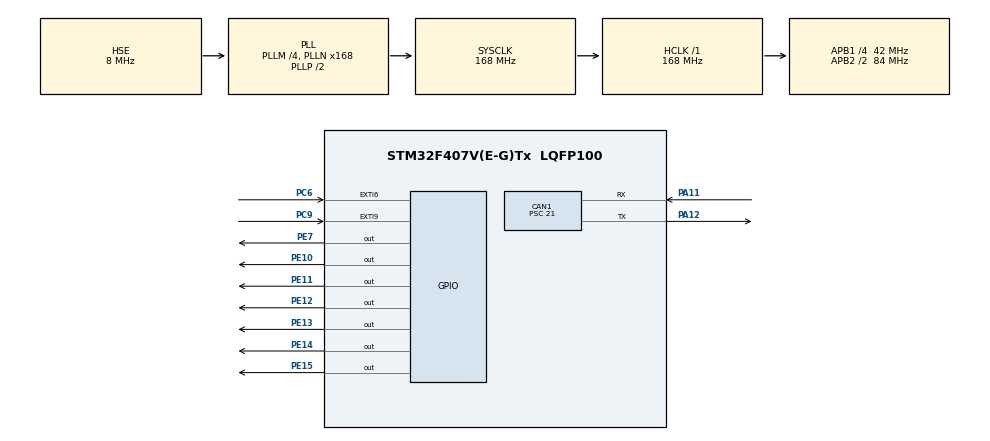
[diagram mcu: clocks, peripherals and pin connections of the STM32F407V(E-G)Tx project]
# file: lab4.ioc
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CAN1.BS1=CAN_BS1_13TQ
CAN1.BS2=CAN_BS2_2TQ
CAN1.CalculateTimeQuantum=500.0
CAN1.Mode=CAN_MODE_SILENT_LOOPBACK
CAN1.NART=ENABLE
CAN1.Prescaler=21
CAN1.TXFP=ENABLE
Mcu.Family=STM32F4
Mcu.Name=STM32F407V(E-G)Tx
Mcu.Package=LQFP100
NVIC.EXTI9_5_IRQn=true\:0\:0\:false\:false\:true\:true\:true
NVIC.PriorityGroup=NVIC_PRIORITYGROUP_4
PA11.Mode=Master
PA11.Signal=CAN1_RX
PA12.Mode=Master
PA12.Signal=CAN1_TX
PC6.GPIO_ModeDefaultEXTI=GPIO_MODE_IT_FALLING
PC6.Signal=GPXTI6
PC9.GPIO_ModeDefaultEXTI=GPIO_MODE_IT_FALLING
PC9.Signal=GPXTI9
PE10.Signal=GPIO_Output
PE11.Signal=GPIO_Output
PE12.Signal=GPIO_Output
PE13.Signal=GPIO_Output
PE14.Signal=GPIO_Output
PE15.Signal=GPIO_Output
PE7.Signal=GPIO_Output
PH0-OSC_IN.Mode=HSE-External-Oscillator
PH0-OSC_IN.Signal=RCC_OSC_IN
PH1-OSC_OUT.Mode=HSE-External-Oscillator
PH1-OSC_OUT.Signal=RCC_OSC_OUT
ProjectManager.HeapSize=0x200
ProjectManager.StackSize=0x400
ProjectManager.TargetToolchain=MDK-ARM V5.27
RCC.48MHZClocksFreq_Value=84000000
RCC.AHBFreq_Value=168000000
RCC.APB1CLKDivider=RCC_HCLK_DIV4
RCC.APB1Freq_Value=42000000
RCC.APB1TimFreq_Value=84000000
RCC.APB2CLKDivider=RCC_HCLK_DIV2
RCC.APB2Freq_Value=84000000
RCC.APB2TimFreq_Value=168000000
RCC.CortexFreq_Value=168000000
RCC.HCLKFreq_Value=168000000
RCC.HSE_VALUE=8000000
RCC.HSI_VALUE=16000000
RCC.LSE_VALUE=32768
RCC.PLLM=4
RCC.PLLN=168
RCC.PLLSourceVirtual=RCC_PLLSOURCE_HSE
RCC.SYSCLKFreq_VALUE=168000000
RCC.SYSCLKSource=RCC_SYSCLKSOURCE_PLLCLK
RCC.VCOOutputFreq_Value=336000000
board=custom

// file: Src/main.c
/* USER CODE BEGIN Header */
/**
  ******************************************************************************
  * @file           : main.c
  * @brief          : Main program body
  ******************************************************************************
  * @attention
  *
  * <h2><center>&copy; Copyright (c) 2020 STMicroelectronics.
  * All rights reserved.</center></h2>
  *
  * This software component is licensed by ST under BSD 3-Clause license,
  * the "License"; You may not use this file except in compliance with the
  * License. You may obtain a copy of the License at:
  *                        opensource.org/licenses/BSD-3-Clause
  *
  ******************************************************************************
  */
/* USER CODE END Header */

#include "main.h"

CAN_HandleTypeDef hcan1;

/* USER CODE BEGIN PV */
uint8_t functionNumber = 0;
uint32_t TxMailbox;
CAN_RxHeaderTypeDef rx;
uint8_t RXdata[8];

uint8_t N=128; //must be 2^x and >1
/* USER CODE END PV */

void SystemClock_Config(void);
static void MX_GPIO_Init(void);
static void MX_CAN1_Init(void);

/* USER CODE BEGIN 0 */
void HAL_GPIO_EXTI_Callback(uint16_t GPIO_Pin){
	if(GPIO_Pin == GPIO_PIN_6){
		//sw3 SendOneMoreMessagePack
		functionNumber = 1;
		return;
	}
	if(GPIO_Pin == GPIO_PIN_9){
		//sw2 ReceiveOneMessagePack if exist
		functionNumber = 2;
		return;
	}
}
/* USER CODE END 0 */

int main(void)
{

  /* MCU Configuration--------------------------------------------------------*/

  /* Reset of all peripherals, Initializes the Flash interface and the Systick. */
  HAL_Init();

  /* Configure the system clock */
  SystemClock_Config();

  /* Initialize all configured peripherals */
  MX_GPIO_Init();
  MX_CAN1_Init();
  /* USER CODE BEGIN 2 */
	initLCD();

	CAN_TxHeaderTypeDef tx;
	tx.DLC = 8;
	tx.ExtId = 0x122;
	tx.StdId = 0x02;
	tx.RTR = CAN_RTR_DATA;
	tx.IDE = CAN_ID_STD;
	tx.TransmitGlobalTime = DISABLE;
  /* USER CODE END 2 */

  /* Infinite loop */
  while (1)
  {
		switch(functionNumber){
			case 0:
				clear();
				lcdUNumber(HAL_CAN_GetRxFifoFillLevel(&hcan1,CAN_RX_FIFO0));
				break;
			case 1: //SendOneMoreMessagePack
				clear();
				HAL_CAN_AddTxMessage(&hcan1,&tx,(uint8_t*)"abcdefe",&TxMailbox);
				lcdString("Pack sended");
				functionNumber = 0;
				break;
			case 2: //ReceiveOneMessagePack if exist
				if(HAL_CAN_GetRxFifoFillLevel(&hcan1,CAN_RX_FIFO0)>0) {
					clear();
					HAL_CAN_GetRxMessage(&hcan1,CAN_RX_FIFO0,&rx,RXdata);
					lcdString("Pack received");
				} else {
					clear();
					lcdString("No packs");
					setCursor(0,1);
					lcdString("to receive!");
				}
				functionNumber = 0;
				break;
		}
		HAL_Delay(1000);
  }
}

void SystemClock_Config(void)
{
  RCC_OscInitTypeDef RCC_OscInitStruct = {0};
  RCC_ClkInitTypeDef RCC_ClkInitStruct = {0};

  /** Configure the main internal regulator output voltage
  */
  __HAL_RCC_PWR_CLK_ENABLE();
  __HAL_PWR_VOLTAGESCALING_CONFIG(PWR_REGULATOR_VOLTAGE_SCALE1);
  /** Initializes the CPU, AHB and APB busses clocks
  */
  RCC_OscInitStruct.OscillatorType = RCC_OSCILLATORTYPE_HSE;
  RCC_OscInitStruct.HSEState = RCC_HSE_ON;
  RCC_OscInitStruct.PLL.PLLState = RCC_PLL_ON;
  RCC_OscInitStruct.PLL.PLLSource = RCC_PLLSOURCE_HSE;
  RCC_OscInitStruct.PLL.PLLM = 4;
  RCC_OscInitStruct.PLL.PLLN = 168;
  RCC_OscInitStruct.PLL.PLLP = RCC_PLLP_DIV2;
  RCC_OscInitStruct.PLL.PLLQ = 4;
  if (HAL_RCC_OscConfig(&RCC_OscInitStruct) != HAL_OK)
  {
    Error_Handler();
  }
  /** Initializes the CPU, AHB and APB busses clocks
  */
  RCC_ClkInitStruct.ClockType = RCC_CLOCKTYPE_HCLK|RCC_CLOCKTYPE_SYSCLK
                              |RCC_CLOCKTYPE_PCLK1|RCC_CLOCKTYPE_PCLK2;
  RCC_ClkInitStruct.SYSCLKSource = RCC_SYSCLKSOURCE_PLLCLK;
  RCC_ClkInitStruct.AHBCLKDivider = RCC_SYSCLK_DIV1;
  RCC_ClkInitStruct.APB1CLKDivider = RCC_HCLK_DIV4;
  RCC_ClkInitStruct.APB2CLKDivider = RCC_HCLK_DIV2;

  if (HAL_RCC_ClockConfig(&RCC_ClkInitStruct, FLASH_LATENCY_5) != HAL_OK)
  {
    Error_Handler();
  }
}

static void MX_CAN1_Init(void)
{

  /* USER CODE BEGIN CAN1_Init 0 */
	__HAL_RCC_CAN1_CLK_ENABLE();

	GPIO_InitTypeDef GPIO_InitStruct = {0};
	GPIO_InitStruct.Pin = GPIO_PIN_11|GPIO_PIN_12;
	GPIO_InitStruct.Mode = GPIO_MODE_AF_PP;
	GPIO_InitStruct.Pull = GPIO_PULLUP;
	GPIO_InitStruct.Speed = GPIO_SPEED_FAST;
	GPIO_InitStruct.Alternate = GPIO_AF9_CAN1;
  HAL_GPIO_Init(GPIOA, &GPIO_InitStruct);
  /* USER CODE END CAN1_Init 0 */

  hcan1.Instance = CAN1;
  hcan1.Init.Prescaler = 21;
  hcan1.Init.Mode = CAN_MODE_SILENT_LOOPBACK;
  hcan1.Init.SyncJumpWidth = CAN_SJW_1TQ;
  hcan1.Init.TimeSeg1 = CAN_BS1_13TQ;
  hcan1.Init.TimeSeg2 = CAN_BS2_2TQ;
  hcan1.Init.TimeTriggeredMode = DISABLE;
  hcan1.Init.AutoBusOff = DISABLE;
  hcan1.Init.AutoWakeUp = DISABLE;
  hcan1.Init.AutoRetransmission = ENABLE;
  hcan1.Init.ReceiveFifoLocked = DISABLE;
  hcan1.Init.TransmitFifoPriority = ENABLE;
  if (HAL_CAN_Init(&hcan1) != HAL_OK)
  {
    Error_Handler();
  }
  /* USER CODE BEGIN CAN1_Init 2 */

	CAN_FilterTypeDef filter;
	filter.FilterBank = 0;
	filter.FilterActivation = ENABLE;
	filter.FilterFIFOAssignment = CAN_RX_FIFO0;
	filter.FilterIdHigh = 0x0000;
	filter.FilterIdLow = 0x0000;
	filter.FilterMaskIdHigh = 0x0000;
	filter.FilterMaskIdLow = 0x0000;

	//if we want recieve paks from the first N/2 devices
	//filter.FilterMaskIdLow = (0xFF-(N/2)+1)<<5;

	filter.FilterMode = CAN_FILTERMODE_IDLIST;
	filter.FilterScale = CAN_FILTERSCALE_32BIT;
	filter.SlaveStartFilterBank = 0;

	HAL_CAN_ConfigFilter(&hcan1,&filter);

	HAL_CAN_Start(&hcan1);
  /* USER CODE END CAN1_Init 2 */

}

static void MX_GPIO_Init(void)
{
  GPIO_InitTypeDef GPIO_InitStruct = {0};

  /* GPIO Ports Clock Enable */
  __HAL_RCC_GPIOH_CLK_ENABLE();
  __HAL_RCC_GPIOE_CLK_ENABLE();
  __HAL_RCC_GPIOC_CLK_ENABLE();
  __HAL_RCC_GPIOA_CLK_ENABLE();

  /*Configure GPIO pin Output Level */
  HAL_GPIO_WritePin(GPIOE, GPIO_PIN_7|GPIO_PIN_10|GPIO_PIN_11|GPIO_PIN_12
                          |GPIO_PIN_13|GPIO_PIN_14|GPIO_PIN_15, GPIO_PIN_RESET);

  /*Configure GPIO pins : PE7 PE10 PE11 PE12
                           PE13 PE14 PE15 */
  GPIO_InitStruct.Pin = GPIO_PIN_7|GPIO_PIN_10|GPIO_PIN_11|GPIO_PIN_12
                          |GPIO_PIN_13|GPIO_PIN_14|GPIO_PIN_15;
  GPIO_InitStruct.Mode = GPIO_MODE_OUTPUT_PP;
  GPIO_InitStruct.Pull = GPIO_NOPULL;
  GPIO_InitStruct.Speed = GPIO_SPEED_FREQ_LOW;
  HAL_GPIO_Init(GPIOE, &GPIO_InitStruct);

  /*Configure GPIO pins : PC6 PC9 */
  GPIO_InitStruct.Pin = GPIO_PIN_6|GPIO_PIN_9;
  GPIO_InitStruct.Mode = GPIO_MODE_IT_FALLING;
  GPIO_InitStruct.Pull = GPIO_NOPULL;
  HAL_GPIO_Init(GPIOC, &GPIO_InitStruct);

  /* EXTI interrupt init*/
  HAL_NVIC_SetPriority(EXTI9_5_IRQn, 0, 0);
  HAL_NVIC_EnableIRQ(EXTI9_5_IRQn);

}

void Error_Handler(void)
{
}

/************************ (C) COPYRIGHT STMicroelectronics *****END OF FILE****/
